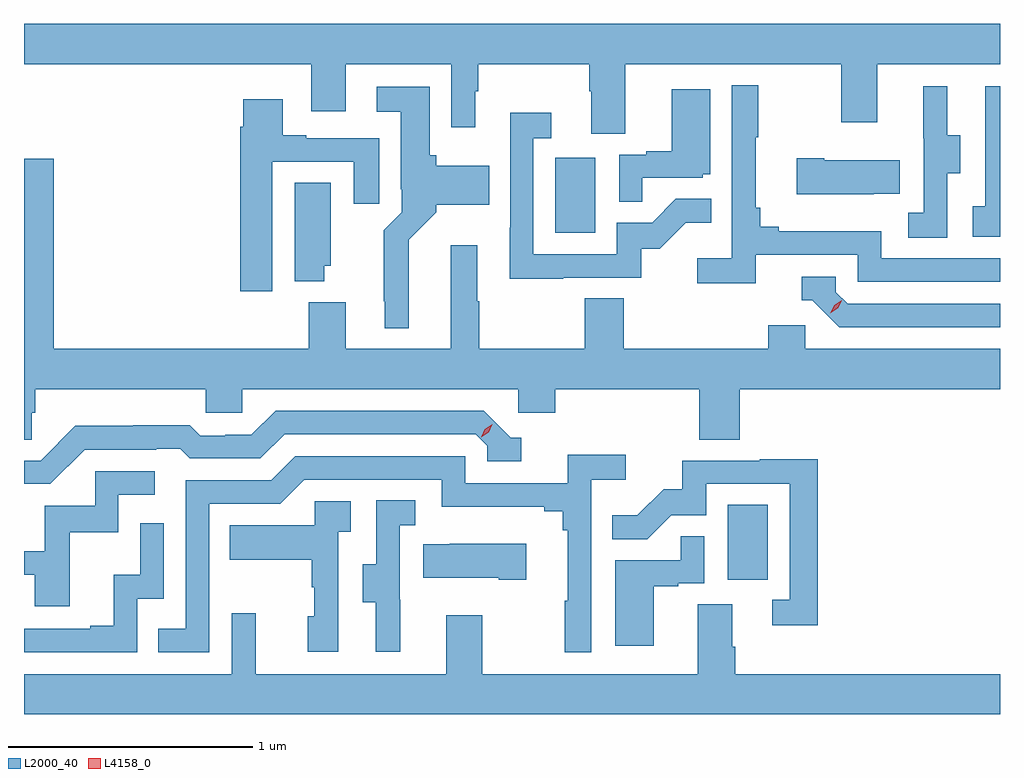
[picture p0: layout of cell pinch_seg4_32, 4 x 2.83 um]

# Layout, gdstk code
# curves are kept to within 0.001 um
import gdstk
lib = gdstk.Library(unit=1e-6, precision=1e-09)
def R(c, l, rs):  # rectangles x0, y0, x1, y1
    for r in rs: c.add(gdstk.rectangle(r[:2], r[2:], *l))
def P(c, l, *ps):  # polygons
    for p in ps: c.add(gdstk.Polygon(p, *l))
L2000_40 = (2000, 40)
L4158_0 = (4158, 0)

pinch_seg4_32 = lib.new_cell('pinch_seg4_32')
R(pinch_seg4_32, L2000_40, [(1130.174,828.006,1130.338,828.313), (1129.466,829.428,1129.63,829.735)])
P(pinch_seg4_32, L2000_40, [(1129.753,830.12),(1130.638,830.12),(1130.638,829.881),(1130.785,829.881),(1130.785,830.12),(1131.289,830.12),(1131.289,830.284),(1127.289,830.284),(1127.289,830.12),(1128.467,830.12),(1128.467,829.926),(1128.607,829.926),(1128.607,830.12),(1129.041,830.12),(1129.041,829.86),(1129.138,829.86),(1129.138,830.008),(1129.15,830.008),(1129.15,830.12),(1129.606,830.12),(1129.606,830.008),(1129.613,830.008),(1129.613,829.834),(1129.753,829.834)],
  [(1130.288,829.338),(1130.706,829.338),(1130.706,829.227),(1131.289,829.227),(1131.289,829.323),(1130.802,829.323),(1130.802,829.435),(1130.383,829.435),(1130.383,829.454),(1130.306,829.454),(1130.306,829.531),(1130.287,829.531),(1130.287,829.819),(1130.299,829.819),(1130.299,830.032),(1130.19,830.032),(1130.19,829.324),(1130.049,829.324),(1130.049,829.222),(1130.288,829.222)],
  [(1131.289,830.029),(1131.228,830.029),(1131.228,829.538),(1131.177,829.538),(1131.177,829.413),(1131.289,829.413)],
  [(1131.072,829.672),(1131.127,829.672),(1131.127,829.827),(1131.073,829.827),(1131.073,830.029),(1130.975,830.029),(1130.975,829.815),(1130.976,829.815),(1130.976,829.511),(1130.913,829.511),(1130.913,829.408),(1131.072,829.408)],
  [(1128.865,829.4),(1128.978,829.513),(1128.978,829.544),(1129.195,829.544),(1129.195,829.702),(1128.978,829.702),(1128.978,829.746),(1128.952,829.746),(1128.952,830.026),(1128.735,830.026),(1128.735,829.925),(1128.833,829.925),(1128.833,829.606),(1128.837,829.606),(1128.837,829.512),(1128.763,829.438),(1128.763,829.147),(1128.767,829.147),(1128.767,829.037),(1128.865,829.037)],
  [(1129.823,829.653),(1130.07,829.653),(1130.07,829.668),(1130.101,829.668),(1130.101,830.017),(1129.943,830.017),(1129.943,829.762),(1129.839,829.762),(1129.839,829.749),(1129.728,829.749),(1129.728,829.555),(1129.823,829.555)],
  [(1128.307,829.719),(1128.641,829.719),(1128.641,829.548),(1128.745,829.548),(1128.745,829.815),(1128.445,829.815),(1128.445,829.828),(1128.349,829.828),(1128.349,829.975),(1128.188,829.975),(1128.188,829.862),(1128.176,829.862),(1128.176,829.188),(1128.307,829.188)],
  [(1129.499,829.245),(1129.818,829.245),(1129.818,829.362),(1129.894,829.362),(1130.001,829.469),(1130.105,829.469),(1130.105,829.568),(1129.961,829.568),(1129.863,829.47),(1129.719,829.47),(1129.719,829.341),(1129.377,829.341),(1129.377,829.815),(1129.45,829.815),(1129.45,829.921),(1129.281,829.921),(1129.28,829.24),(1129.499,829.24)],
  [(1130.771,829.589),(1130.879,829.589),(1130.879,829.726),(1130.569,829.726),(1130.569,829.734),(1130.457,829.734),(1130.457,829.586),(1130.771,829.586)],
  [(1127.321,828.69),(1127.336,828.69),(1127.336,828.788),(1128.033,828.788),(1128.033,828.69),(1128.183,828.69),(1128.183,828.788),(1129.314,828.788),(1129.314,828.69),(1129.466,828.69),(1129.466,828.788),(1130.057,828.788),(1130.057,828.58),(1130.222,828.58),(1130.222,828.788),(1131.289,828.788),(1131.289,828.952),(1130.49,828.952),(1130.49,829.05),(1130.339,829.05),(1130.339,828.952),(1129.748,828.952),(1129.748,829.16),(1129.588,829.16),(1129.588,828.952),(1129.155,828.952),(1129.155,829.148),(1129.147,829.148),(1129.147,829.378),(1129.037,829.378),(1129.037,828.952),(1128.607,828.952),(1128.607,829.144),(1128.455,829.144),(1128.455,828.952),(1127.411,828.952),(1127.411,829.732),(1127.289,829.732),(1127.289,828.58),(1127.321,828.58)],
  [(1128.52,829.293),(1128.547,829.293),(1128.547,829.634),(1128.398,829.634),(1128.398,829.229),(1128.52,829.229)],
  [(1131.289,829.137),(1130.664,829.137),(1130.616,829.185),(1130.616,829.248),(1130.477,829.248),(1130.477,829.152),(1130.52,829.152),(1130.631,829.041),(1131.289,829.041)],
  [(1127.538,828.54),(1127.831,828.54),(1127.831,828.543),(1127.93,828.543),(1127.969,828.504),(1128.258,828.504),(1128.357,828.603),(1129.14,828.603),(1129.188,828.555),(1129.188,828.492),(1129.327,828.492),(1129.327,828.588),(1129.284,828.588),(1129.173,828.699),(1128.32,828.699),(1128.221,828.6),(1128.114,828.6),(1128.114,828.597),(1128.011,828.597),(1127.969,828.64),(1127.736,828.64),(1127.736,828.637),(1127.5,828.637),(1127.358,828.495),(1127.289,828.495),(1127.289,828.399),(1127.397,828.399)],
  [(1128.048,828.318),(1128.339,828.318),(1128.438,828.417),(1129.002,828.417),(1129.002,828.305),(1129.421,828.305),(1129.421,828.286),(1129.498,828.286),(1129.498,828.209),(1129.517,828.209),(1129.517,827.921),(1129.506,827.921),(1129.506,827.709),(1129.614,827.709),(1129.614,828.416),(1129.756,828.416),(1129.756,828.518),(1129.517,828.518),(1129.517,828.402),(1129.098,828.402),(1129.098,828.513),(1128.401,828.513),(1128.302,828.414),(1127.952,828.414),(1127.952,827.805),(1127.839,827.805),(1127.839,827.709),(1128.048,827.709)],
  [(1130.543,828.5),(1130.305,828.5),(1130.305,828.495),(1129.987,828.495),(1129.987,828.378),(1129.91,828.378),(1129.803,828.271),(1129.699,828.271),(1129.699,828.172),(1129.843,828.172),(1129.941,828.27),(1130.085,828.27),(1130.085,828.399),(1130.427,828.399),(1130.427,827.925),(1130.355,827.925),(1130.355,827.82),(1130.543,827.82)],
  [(1127.477,828.201),(1127.676,828.201),(1127.676,828.354),(1127.824,828.354),(1127.824,828.45),(1127.58,828.45),(1127.58,828.309),(1127.375,828.309),(1127.375,828.123),(1127.289,828.123),(1127.289,828.027),(1127.333,828.027),(1127.333,827.898),(1127.477,827.898)],
  [(1128.83,827.925),(1128.828,827.925),(1128.828,828.229),(1128.892,828.229),(1128.892,828.332),(1128.732,828.332),(1128.732,828.069),(1128.677,828.069),(1128.677,827.914),(1128.731,827.914),(1128.731,827.712),(1128.83,827.712)],
  [(1128.576,828.203),(1128.628,828.203),(1128.628,828.327),(1128.48,828.327),(1128.48,828.229),(1128.133,828.229),(1128.133,828.089),(1128.468,828.089),(1128.468,827.975),(1128.478,827.975),(1128.478,827.856),(1128.452,827.856),(1128.452,827.712),(1128.576,827.712)],
  [(1127.754,827.928),(1127.862,827.928),(1127.862,828.238),(1127.766,828.238),(1127.766,828.026),(1127.657,828.026),(1127.657,827.818),(1127.561,827.818),(1127.561,827.805),(1127.289,827.805),(1127.289,827.709),(1127.754,827.709)],
  [(1129.87,827.979),(1129.97,827.979),(1129.97,827.991),(1130.076,827.991),(1130.076,828.185),(1129.981,828.185),(1129.981,828.087),(1129.712,828.087),(1129.712,827.736),(1129.87,827.736)],
  [(1129.348,828.154),(1129.033,828.154),(1129.033,828.151),(1128.925,828.151),(1128.925,828.014),(1129.235,828.014),(1129.235,828.007),(1129.348,828.007)],
  [(1131.289,827.62),(1130.204,827.62),(1130.204,827.732),(1130.191,827.732),(1130.191,827.906),(1130.051,827.906),(1130.051,827.62),(1129.167,827.62),(1129.167,827.86),(1129.019,827.86),(1129.019,827.62),(1128.239,827.62),(1128.239,827.869),(1128.141,827.869),(1128.141,827.62),(1127.289,827.62),(1127.289,827.456),(1131.289,827.456)])
P(pinch_seg4_32, L4158_0, [(1129.163,828.59),(1129.163,828.59),(1129.178,828.623),(1129.209,828.643),(1129.209,828.643),(1129.209,828.643),(1129.193,828.61),(1129.163,828.59)],
  [(1130.593,829.098),(1130.593,829.098),(1130.61,829.131),(1130.641,829.151),(1130.641,829.151),(1130.641,829.15),(1130.625,829.118),(1130.594,829.098)])

lib.write_gds('pinch_seg4_32.gds')
